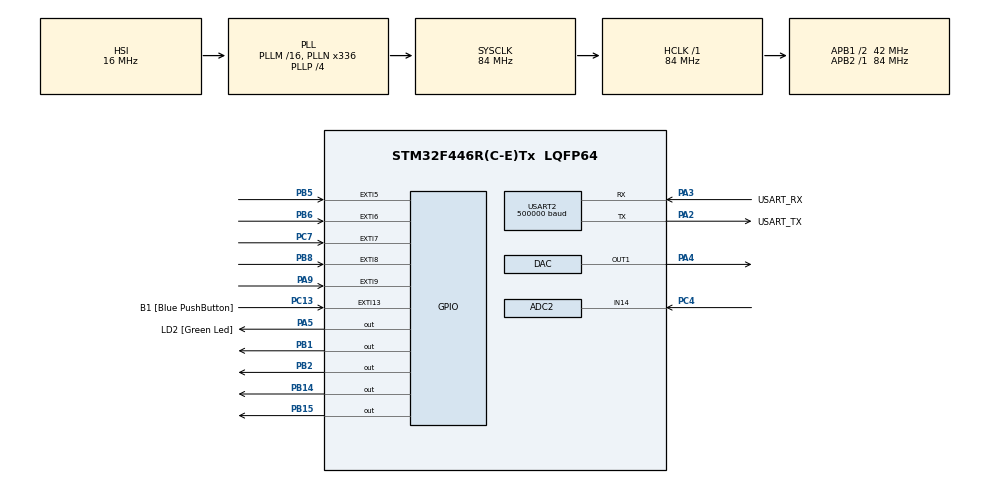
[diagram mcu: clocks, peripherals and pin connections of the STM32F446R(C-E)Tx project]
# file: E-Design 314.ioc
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ADC2.Channel-0\#ChannelRegularConversion=ADC_CHANNEL_14
ADC2.DMAContinuousRequests=ENABLE
ADC2.ExternalTrigConv=ADC_EXTERNALTRIGCONV_T8_TRGO
ADC2.NbrOfConversionFlag=1
ADC2.Rank-0\#ChannelRegularConversion=1
ADC2.Resolution=ADC_RESOLUTION_8B
ADC2.SamplingTime-0\#ChannelRegularConversion=ADC_SAMPLETIME_3CYCLES
DAC.DAC_Trigger=DAC_TRIGGER_T8_TRGO
Dma.ADC2.1.Direction=DMA_PERIPH_TO_MEMORY
Dma.ADC2.1.FIFOMode=DMA_FIFOMODE_DISABLE
Dma.ADC2.1.Instance=DMA2_Stream2
Dma.ADC2.1.MemDataAlignment=DMA_MDATAALIGN_BYTE
Dma.ADC2.1.MemInc=DMA_MINC_ENABLE
Dma.ADC2.1.Mode=DMA_CIRCULAR
Dma.ADC2.1.PeriphDataAlignment=DMA_PDATAALIGN_BYTE
Dma.ADC2.1.PeriphInc=DMA_PINC_DISABLE
Dma.ADC2.1.Priority=DMA_PRIORITY_LOW
Dma.DAC1.0.Direction=DMA_MEMORY_TO_PERIPH
Dma.DAC1.0.FIFOMode=DMA_FIFOMODE_DISABLE
Dma.DAC1.0.Instance=DMA1_Stream5
Dma.DAC1.0.MemDataAlignment=DMA_MDATAALIGN_HALFWORD
Dma.DAC1.0.MemInc=DMA_MINC_ENABLE
Dma.DAC1.0.Mode=DMA_NORMAL
Dma.DAC1.0.PeriphDataAlignment=DMA_PDATAALIGN_HALFWORD
Dma.DAC1.0.PeriphInc=DMA_PINC_DISABLE
Dma.DAC1.0.Priority=DMA_PRIORITY_LOW
Dma.Request0=DAC1
Dma.Request1=ADC2
Dma.Request2=USART2_TX
Dma.USART2_TX.2.Direction=DMA_MEMORY_TO_PERIPH
Dma.USART2_TX.2.FIFOMode=DMA_FIFOMODE_DISABLE
Dma.USART2_TX.2.Instance=DMA1_Stream6
Dma.USART2_TX.2.MemDataAlignment=DMA_MDATAALIGN_BYTE
Dma.USART2_TX.2.MemInc=DMA_MINC_ENABLE
Dma.USART2_TX.2.Mode=DMA_NORMAL
Dma.USART2_TX.2.PeriphDataAlignment=DMA_PDATAALIGN_BYTE
Dma.USART2_TX.2.PeriphInc=DMA_PINC_DISABLE
Dma.USART2_TX.2.Priority=DMA_PRIORITY_LOW
Mcu.Family=STM32F4
Mcu.Name=STM32F446R(C-E)Tx
Mcu.Package=LQFP64
NVIC.DMA1_Stream5_IRQn=true\:0\:0\:false\:false\:true\:false\:true
NVIC.DMA1_Stream6_IRQn=true\:0\:0\:false\:false\:true\:false\:true
NVIC.DMA2_Stream2_IRQn=true\:0\:0\:false\:false\:true\:false\:true
NVIC.EXTI15_10_IRQn=true\:0\:0\:false\:false\:true\:true\:true
NVIC.EXTI9_5_IRQn=true\:0\:0\:false\:false\:true\:true\:true
NVIC.PriorityGroup=NVIC_PRIORITYGROUP_0
NVIC.TIM3_IRQn=true\:0\:0\:false\:false\:true\:true\:true
PA13.GPIO_Label=TMS
PA13.Mode=Serial_Wire
PA13.Signal=SYS_JTMS-SWDIO
PA14.GPIO_Label=TCK
PA14.Mode=Serial_Wire
PA14.Signal=SYS_JTCK-SWCLK
PA2.GPIO_Label=USART_TX
PA2.Mode=Asynchronous
PA2.Signal=USART2_TX
PA3.GPIO_Label=USART_RX
PA3.Mode=Asynchronous
PA3.Signal=USART2_RX
PA4.Signal=COMP_DAC1_group
PA5.GPIO_Label=LD2 [Green Led]
PA5.Signal=GPIO_Output
PA9.GPIO_ModeDefaultEXTI=GPIO_MODE_IT_RISING
PA9.GPIO_PuPd=GPIO_PULLDOWN
PA9.Signal=GPXTI9
PB1.GPIO_PuPd=GPIO_PULLDOWN
PB1.Signal=GPIO_Output
PB14.GPIO_PuPd=GPIO_PULLDOWN
PB14.Signal=GPIO_Output
PB15.GPIO_PuPd=GPIO_PULLDOWN
PB15.Signal=GPIO_Output
PB2.GPIO_PuPd=GPIO_PULLDOWN
PB2.Signal=GPIO_Output
PB3.GPIO_Label=SWO
PB3.Signal=SYS_JTDO-SWO
PB5.GPIO_ModeDefaultEXTI=GPIO_MODE_IT_RISING
PB5.GPIO_PuPd=GPIO_PULLDOWN
PB5.Signal=GPXTI5
PB6.GPIO_ModeDefaultEXTI=GPIO_MODE_IT_RISING
PB6.GPIO_PuPd=GPIO_PULLDOWN
PB6.Signal=GPXTI6
PB8.GPIO_ModeDefaultEXTI=GPIO_MODE_IT_RISING
PB8.GPIO_PuPd=GPIO_PULLDOWN
PB8.Signal=GPXTI8
PC13.GPIO_Label=B1 [Blue PushButton]
PC13.GPIO_ModeDefaultEXTI=GPIO_MODE_IT_FALLING
PC13.Signal=GPXTI13
PC14-OSC32_IN.Mode=LSE-External-Oscillator
PC14-OSC32_IN.Signal=RCC_OSC32_IN
PC15-OSC32_OUT.Mode=LSE-External-Oscillator
PC15-OSC32_OUT.Signal=RCC_OSC32_OUT
PC4.Signal=ADCx_IN14
PC7.GPIO_ModeDefaultEXTI=GPIO_MODE_IT_RISING
PC7.GPIO_PuPd=GPIO_PULLDOWN
PC7.Signal=GPXTI7
PH0-OSC_IN.Mode=HSE-External-Oscillator
PH0-OSC_IN.Signal=RCC_OSC_IN
PH1-OSC_OUT.Mode=HSE-External-Oscillator
PH1-OSC_OUT.Signal=RCC_OSC_OUT
ProjectManager.HeapSize=0x200
ProjectManager.StackSize=0x400
ProjectManager.TargetToolchain=STM32CubeIDE
RCC.48MHZClocksFreq_Value=84000000
RCC.AHBFreq_Value=84000000
RCC.APB1CLKDivider=RCC_HCLK_DIV2
RCC.APB1Freq_Value=42000000
RCC.APB1TimFreq_Value=84000000
RCC.APB2Freq_Value=84000000
RCC.APB2TimFreq_Value=84000000
RCC.CortexFreq_Value=84000000
RCC.FLatency-AdvancedSettings=FLASH_LATENCY_2
RCC.HCLKFreq_Value=84000000
RCC.HSE_VALUE=8000000
RCC.HSI_VALUE=16000000
RCC.PLLN=336
RCC.PLLP=RCC_PLLP_DIV4
RCC.SYSCLKFreq_VALUE=84000000
RCC.SYSCLKSource=RCC_SYSCLKSOURCE_PLLCLK
RCC.USBFreq_Value=168000000
RCC.VCOOutputFreq_Value=336000000
SH.ADCx_IN14.0=ADC2_IN14,IN14
SH.COMP_DAC1_group.0=DAC_OUT1,DAC_OUT1
TIM3.Period=2499
TIM3.Prescaler=8400
TIM8.Period=1905
TIM8.TIM_MasterOutputTrigger=TIM_TRGO_UPDATE
USART2.BaudRate=500000
USART2.VirtualMode=VM_ASYNC
VP_TIM3_VS_ClockSourceINT.Mode=Internal
VP_TIM8_VS_ClockSourceINT.Mode=Internal
board=NUCLEO-F446RE

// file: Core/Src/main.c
/* USER CODE BEGIN Header */
/**
  ******************************************************************************
  * @file           : main.c
  * @brief          : Main program body
  ******************************************************************************
  * @attention
  *
  * <h2><center>&copy; Copyright (c) 2020 STMicroelectronics.
  * All rights reserved.</center></h2>
  *
  * This software component is licensed by ST under BSD 3-Clause license,
  * the "License"; You may not use this file except in compliance with the
  * License. You may obtain a copy of the License at:
  *                        opensource.org/licenses/BSD-3-Clause
  *
  ******************************************************************************
  */
/* USER CODE END Header */

#include "main.h"

/* USER CODE BEGIN Includes */
#include "variables.h"
#include "project.h"
#include "state_machine.h"
#include "sinewave.h"
/* USER CODE END Includes */

void SystemClock_Config(void);
static void MX_GPIO_Init(void);
static void MX_DMA_Init(void);
static void MX_USART2_UART_Init(void);
static void MX_TIM3_Init(void);
static void MX_ADC2_Init(void);
static void MX_DAC_Init(void);
static void MX_TIM8_Init(void);

/* USER CODE BEGIN 0 */
uint8_t recbuf[1024];
int8_t outputbuf[1024];
int32_t tempsample;
int32_t average = 128;
int32_t accumulator;
int32_t numavg;
float smoothed_sample;

void HAL_ADC_ConvCpltCallback(ADC_HandleTypeDef* hadc)
{

	huart2.gState = HAL_UART_STATE_READY;

	for (int i = 512; i < 1024; i++)
	{
		 accumulator += recbuf[i];
		 tempsample = (int32_t)recbuf[i] - average;
		 smoothed_sample = 0.125f * tempsample + 0.875f * smoothed_sample;
		 tempsample = (int32_t)smoothed_sample;
		 if (tempsample > 127) tempsample = 127;
		 if (tempsample < -128) tempsample = -128;
		 outputbuf[i] = (int8_t)tempsample;
	}

	numavg += 512;
	if(numavg >= 20480)
	{
		average = accumulator / 20480;
		accumulator = 0;
		numavg = 0;
	}
	HAL_UART_Transmit_DMA(&huart2, (uint8_t*)outputbuf+512, 512);
}

void HAL_ADC_ConvHalfCpltCallback(ADC_HandleTypeDef* hadc)
{
	huart2.gState = HAL_UART_STATE_READY;

	for (int i = 0; i < 512; i++)
		{
			 accumulator += recbuf[i];
			 tempsample = (int32_t)recbuf[i] - average;
			 smoothed_sample = 0.125f * tempsample + 0.875f * smoothed_sample;
			 tempsample = (int32_t)smoothed_sample;
			 if (tempsample > 127) tempsample = 127;
			 if (tempsample < -128) tempsample = -128;
			 outputbuf[i] = (int8_t)tempsample;
		}

		numavg += 512;
		if(numavg >= 20480)
		{
			average = accumulator / 20480;
			accumulator = 0;
			numavg = 0;
		}

	HAL_UART_Transmit_DMA(&huart2, (uint8_t*)outputbuf, 512);
}
/* USER CODE END 0 */

int main(void)
{

  /* MCU Configuration--------------------------------------------------------*/

  /* Reset of all peripherals, Initializes the Flash interface and the Systick. */
  HAL_Init();

  /* Configure the system clock */
  SystemClock_Config();

  /* Initialize all configured peripherals */
  MX_GPIO_Init();
  MX_DMA_Init();
  MX_USART2_UART_Init();
  MX_TIM3_Init();
  MX_ADC2_Init();
  MX_DAC_Init();
  MX_TIM8_Init();
  /* USER CODE BEGIN 2 */

  wave_init();
  startString();

__HAL_TIM_ENABLE(&htim8);
  /* USER CODE END 2 */

  /* Infinite loop */
  while (1)
  {

    /* USER CODE BEGIN 3 */

	  processFlags();
	  states();
	  stateMachine();
  }
  /* USER CODE END 3 */
}

void SystemClock_Config(void)
{
  RCC_OscInitTypeDef RCC_OscInitStruct = {0};
  RCC_ClkInitTypeDef RCC_ClkInitStruct = {0};

  /** Configure the main internal regulator output voltage
  */
  __HAL_RCC_PWR_CLK_ENABLE();
  __HAL_PWR_VOLTAGESCALING_CONFIG(PWR_REGULATOR_VOLTAGE_SCALE3);
  /** Initializes the CPU, AHB and APB busses clocks
  */
  RCC_OscInitStruct.OscillatorType = RCC_OSCILLATORTYPE_HSI;
  RCC_OscInitStruct.HSIState = RCC_HSI_ON;
  RCC_OscInitStruct.HSICalibrationValue = RCC_HSICALIBRATION_DEFAULT;
  RCC_OscInitStruct.PLL.PLLState = RCC_PLL_ON;
  RCC_OscInitStruct.PLL.PLLSource = RCC_PLLSOURCE_HSI;
  RCC_OscInitStruct.PLL.PLLM = 16;
  RCC_OscInitStruct.PLL.PLLN = 336;
  RCC_OscInitStruct.PLL.PLLP = RCC_PLLP_DIV4;
  RCC_OscInitStruct.PLL.PLLQ = 2;
  RCC_OscInitStruct.PLL.PLLR = 2;
  if (HAL_RCC_OscConfig(&RCC_OscInitStruct) != HAL_OK)
  {
    Error_Handler();
  }
  /** Initializes the CPU, AHB and APB busses clocks
  */
  RCC_ClkInitStruct.ClockType = RCC_CLOCKTYPE_HCLK|RCC_CLOCKTYPE_SYSCLK
                              |RCC_CLOCKTYPE_PCLK1|RCC_CLOCKTYPE_PCLK2;
  RCC_ClkInitStruct.SYSCLKSource = RCC_SYSCLKSOURCE_PLLCLK;
  RCC_ClkInitStruct.AHBCLKDivider = RCC_SYSCLK_DIV1;
  RCC_ClkInitStruct.APB1CLKDivider = RCC_HCLK_DIV2;
  RCC_ClkInitStruct.APB2CLKDivider = RCC_HCLK_DIV1;

  if (HAL_RCC_ClockConfig(&RCC_ClkInitStruct, FLASH_LATENCY_2) != HAL_OK)
  {
    Error_Handler();
  }
}

static void MX_ADC2_Init(void)
{

  ADC_ChannelConfTypeDef sConfig = {0};

  /** Configure the global features of the ADC (Clock, Resolution, Data Alignment and number of conversion)
  */
  hadc2.Instance = ADC2;
  hadc2.Init.ClockPrescaler = ADC_CLOCK_SYNC_PCLK_DIV4;
  hadc2.Init.Resolution = ADC_RESOLUTION_8B;
  hadc2.Init.ScanConvMode = DISABLE;
  hadc2.Init.ContinuousConvMode = DISABLE;
  hadc2.Init.DiscontinuousConvMode = DISABLE;
  hadc2.Init.ExternalTrigConvEdge = ADC_EXTERNALTRIGCONVEDGE_RISING;
  hadc2.Init.ExternalTrigConv = ADC_EXTERNALTRIGCONV_T8_TRGO;
  hadc2.Init.DataAlign = ADC_DATAALIGN_RIGHT;
  hadc2.Init.NbrOfConversion = 1;
  hadc2.Init.DMAContinuousRequests = ENABLE;
  hadc2.Init.EOCSelection = ADC_EOC_SINGLE_CONV;
  if (HAL_ADC_Init(&hadc2) != HAL_OK)
  {
    Error_Handler();
  }
  /** Configure for the selected ADC regular channel its corresponding rank in the sequencer and its sample time.
  */
  sConfig.Channel = ADC_CHANNEL_14;
  sConfig.Rank = 1;
  sConfig.SamplingTime = ADC_SAMPLETIME_3CYCLES;
  if (HAL_ADC_ConfigChannel(&hadc2, &sConfig) != HAL_OK)
  {
    Error_Handler();
  }

}

static void MX_DAC_Init(void)
{

  DAC_ChannelConfTypeDef sConfig = {0};

  /** DAC Initialization
  */
  hdac.Instance = DAC;
  if (HAL_DAC_Init(&hdac) != HAL_OK)
  {
    Error_Handler();
  }
  /** DAC channel OUT1 config
  */
  sConfig.DAC_Trigger = DAC_TRIGGER_T8_TRGO;
  sConfig.DAC_OutputBuffer = DAC_OUTPUTBUFFER_ENABLE;
  if (HAL_DAC_ConfigChannel(&hdac, &sConfig, DAC_CHANNEL_1) != HAL_OK)
  {
    Error_Handler();
  }

}

static void MX_TIM3_Init(void)
{

  TIM_ClockConfigTypeDef sClockSourceConfig = {0};
  TIM_MasterConfigTypeDef sMasterConfig = {0};

  htim3.Instance = TIM3;
  htim3.Init.Prescaler = 8400;
  htim3.Init.CounterMode = TIM_COUNTERMODE_UP;
  htim3.Init.Period = 2499;
  htim3.Init.ClockDivision = TIM_CLOCKDIVISION_DIV1;
  htim3.Init.AutoReloadPreload = TIM_AUTORELOAD_PRELOAD_DISABLE;
  if (HAL_TIM_Base_Init(&htim3) != HAL_OK)
  {
    Error_Handler();
  }
  sClockSourceConfig.ClockSource = TIM_CLOCKSOURCE_INTERNAL;
  if (HAL_TIM_ConfigClockSource(&htim3, &sClockSourceConfig) != HAL_OK)
  {
    Error_Handler();
  }
  sMasterConfig.MasterOutputTrigger = TIM_TRGO_RESET;
  sMasterConfig.MasterSlaveMode = TIM_MASTERSLAVEMODE_DISABLE;
  if (HAL_TIMEx_MasterConfigSynchronization(&htim3, &sMasterConfig) != HAL_OK)
  {
    Error_Handler();
  }

}

static void MX_TIM8_Init(void)
{

  TIM_ClockConfigTypeDef sClockSourceConfig = {0};
  TIM_MasterConfigTypeDef sMasterConfig = {0};

  htim8.Instance = TIM8;
  htim8.Init.Prescaler = 0;
  htim8.Init.CounterMode = TIM_COUNTERMODE_UP;
  htim8.Init.Period = 1905;
  htim8.Init.ClockDivision = TIM_CLOCKDIVISION_DIV1;
  htim8.Init.RepetitionCounter = 0;
  htim8.Init.AutoReloadPreload = TIM_AUTORELOAD_PRELOAD_DISABLE;
  if (HAL_TIM_Base_Init(&htim8) != HAL_OK)
  {
    Error_Handler();
  }
  sClockSourceConfig.ClockSource = TIM_CLOCKSOURCE_INTERNAL;
  if (HAL_TIM_ConfigClockSource(&htim8, &sClockSourceConfig) != HAL_OK)
  {
    Error_Handler();
  }
  sMasterConfig.MasterOutputTrigger = TIM_TRGO_UPDATE;
  sMasterConfig.MasterSlaveMode = TIM_MASTERSLAVEMODE_DISABLE;
  if (HAL_TIMEx_MasterConfigSynchronization(&htim8, &sMasterConfig) != HAL_OK)
  {
    Error_Handler();
  }

}

static void MX_USART2_UART_Init(void)
{

  huart2.Instance = USART2;
  huart2.Init.BaudRate = 500000;
  huart2.Init.WordLength = UART_WORDLENGTH_8B;
  huart2.Init.StopBits = UART_STOPBITS_1;
  huart2.Init.Parity = UART_PARITY_NONE;
  huart2.Init.Mode = UART_MODE_TX_RX;
  huart2.Init.HwFlowCtl = UART_HWCONTROL_NONE;
  huart2.Init.OverSampling = UART_OVERSAMPLING_16;
  if (HAL_UART_Init(&huart2) != HAL_OK)
  {
    Error_Handler();
  }

}

static void MX_DMA_Init(void)
{

  /* DMA controller clock enable */
  __HAL_RCC_DMA1_CLK_ENABLE();
  __HAL_RCC_DMA2_CLK_ENABLE();

  /* DMA interrupt init */
  /* DMA1_Stream5_IRQn interrupt configuration */
  HAL_NVIC_SetPriority(DMA1_Stream5_IRQn, 0, 0);
  HAL_NVIC_EnableIRQ(DMA1_Stream5_IRQn);
  /* DMA1_Stream6_IRQn interrupt configuration */
  HAL_NVIC_SetPriority(DMA1_Stream6_IRQn, 0, 0);
  HAL_NVIC_EnableIRQ(DMA1_Stream6_IRQn);
  /* DMA2_Stream2_IRQn interrupt configuration */
  HAL_NVIC_SetPriority(DMA2_Stream2_IRQn, 0, 0);
  HAL_NVIC_EnableIRQ(DMA2_Stream2_IRQn);

}

static void MX_GPIO_Init(void)
{
  GPIO_InitTypeDef GPIO_InitStruct = {0};

  /* GPIO Ports Clock Enable */
  __HAL_RCC_GPIOC_CLK_ENABLE();
  __HAL_RCC_GPIOH_CLK_ENABLE();
  __HAL_RCC_GPIOA_CLK_ENABLE();
  __HAL_RCC_GPIOB_CLK_ENABLE();

  /*Configure GPIO pin Output Level */
  HAL_GPIO_WritePin(LD2_GPIO_Port, LD2_Pin, GPIO_PIN_RESET);

  /*Configure GPIO pin Output Level */
  HAL_GPIO_WritePin(GPIOB, GPIO_PIN_1|GPIO_PIN_2|GPIO_PIN_14|GPIO_PIN_15, GPIO_PIN_RESET);

  /*Configure GPIO pin : B1_Pin */
  GPIO_InitStruct.Pin = B1_Pin;
  GPIO_InitStruct.Mode = GPIO_MODE_IT_FALLING;
  GPIO_InitStruct.Pull = GPIO_NOPULL;
  HAL_GPIO_Init(B1_GPIO_Port, &GPIO_InitStruct);

  /*Configure GPIO pin : LD2_Pin */
  GPIO_InitStruct.Pin = LD2_Pin;
  GPIO_InitStruct.Mode = GPIO_MODE_OUTPUT_PP;
  GPIO_InitStruct.Pull = GPIO_NOPULL;
  GPIO_InitStruct.Speed = GPIO_SPEED_FREQ_LOW;
  HAL_GPIO_Init(LD2_GPIO_Port, &GPIO_InitStruct);

  /*Configure GPIO pins : PB1 PB2 PB14 PB15 */
  GPIO_InitStruct.Pin = GPIO_PIN_1|GPIO_PIN_2|GPIO_PIN_14|GPIO_PIN_15;
  GPIO_InitStruct.Mode = GPIO_MODE_OUTPUT_PP;
  GPIO_InitStruct.Pull = GPIO_PULLDOWN;
  GPIO_InitStruct.Speed = GPIO_SPEED_FREQ_LOW;
  HAL_GPIO_Init(GPIOB, &GPIO_InitStruct);

  /*Configure GPIO pin : PC7 */
  GPIO_InitStruct.Pin = GPIO_PIN_7;
  GPIO_InitStruct.Mode = GPIO_MODE_IT_RISING;
  GPIO_InitStruct.Pull = GPIO_PULLDOWN;
  HAL_GPIO_Init(GPIOC, &GPIO_InitStruct);

  /*Configure GPIO pin : PA9 */
  GPIO_InitStruct.Pin = GPIO_PIN_9;
  GPIO_InitStruct.Mode = GPIO_MODE_IT_RISING;
  GPIO_InitStruct.Pull = GPIO_PULLDOWN;
  HAL_GPIO_Init(GPIOA, &GPIO_InitStruct);

  /*Configure GPIO pins : PB5 PB6 PB8 */
  GPIO_InitStruct.Pin = GPIO_PIN_5|GPIO_PIN_6|GPIO_PIN_8;
  GPIO_InitStruct.Mode = GPIO_MODE_IT_RISING;
  GPIO_InitStruct.Pull = GPIO_PULLDOWN;
  HAL_GPIO_Init(GPIOB, &GPIO_InitStruct);

  /* EXTI interrupt init*/
  HAL_NVIC_SetPriority(EXTI9_5_IRQn, 0, 0);
  HAL_NVIC_EnableIRQ(EXTI9_5_IRQn);

  HAL_NVIC_SetPriority(EXTI15_10_IRQn, 0, 0);
  HAL_NVIC_EnableIRQ(EXTI15_10_IRQn);

}

/* USER CODE BEGIN 4 */
void HAL_GPIO_EXTI_Callback(uint16_t GPIO_Pin)
{
	// if triggered interrupt corresponds to specific button, set flag
	switch(GPIO_Pin)
		{
		case GPIO_PIN_8:
			one_trig = 1;
			break;
			// end case button 1
		case GPIO_PIN_6:
			two_trig = 1;
			break;
			// end case button 2
		case GPIO_PIN_7:
			three_trig = 1;
			break;
			// end case button 3
		case GPIO_PIN_9:
			stop_trig = 1;
			break;
			// end case stop button
		case GPIO_PIN_5:
			rec_trig = 1;
			break;
			// end case record button

		} // end switch
} // end HAL_GPIO_EXTI_Callback

void HAL_DAC_ConvCpltCallbackCh1(DAC_HandleTypeDef* hdac)
{
	HAL_DAC_Start_DMA(hdac, DAC_CHANNEL_1,(uint32_t*)dacbuffer, 1024, DAC_ALIGN_12B_R);
	if(activePlayState == PlayOne) wave_fillbuffer(dacbuffer+512, 1, 512);
	if (activePlayState == PlayTwo) wave_fillbuffer(dacbuffer+512, 2, 512);
	if (activePlayState == PlayThree) wave_fillbuffer(dacbuffer+512, 3, 512);

}

void HAL_DAC_ConvHalfCpltCallbackCh1(DAC_HandleTypeDef* hdac)
{
	if(activePlayState == PlayOne) wave_fillbuffer(dacbuffer,1,512);
	if(activePlayState == PlayTwo) wave_fillbuffer(dacbuffer,2,512);
	if(activePlayState == PlayThree) wave_fillbuffer(dacbuffer,3,512);

}

/* USER CODE END 4 */

void Error_Handler(void)
{
}

/************************ (C) COPYRIGHT STMicroelectronics *****END OF FILE****/
